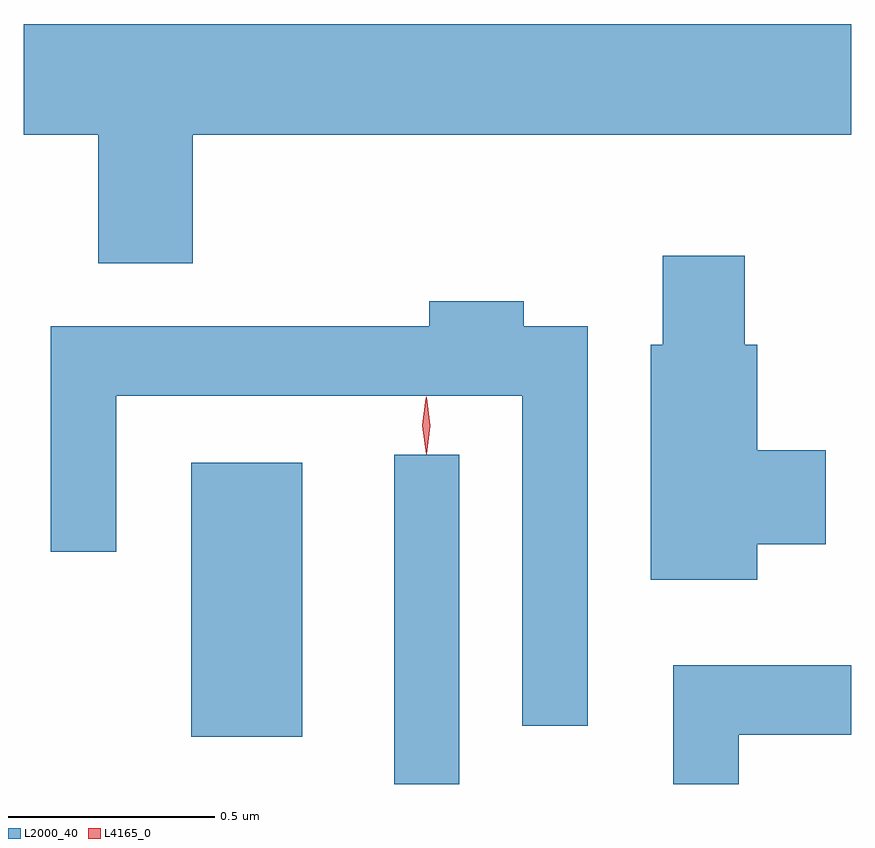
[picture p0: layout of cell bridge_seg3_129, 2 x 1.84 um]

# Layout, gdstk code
import gdstk
lib = gdstk.Library(unit=1e-6, precision=1e-09)
def R(c, l, rs):  # rectangles x0, y0, x1, y1
    for r in rs: c.add(gdstk.rectangle(r[:2], r[2:], *l))
def P(c, l, *ps):  # polygons
    for p in ps: c.add(gdstk.Polygon(p, *l))
L2000_40 = (2000, 40)
L4165_0 = (4165, 0)

bridge_seg3_129 = lib.new_cell('bridge_seg3_129')
R(bridge_seg3_129, L2000_40, [(889.896,1231.007,890.054,1231.803), (889.406,1231.121,889.674,1231.784)])
P(bridge_seg3_129, L2000_40, [(889.409,1232.576),(891.001,1232.576),(891.001,1232.844),(889.001,1232.844),(889.001,1232.576),(889.181,1232.576),(889.181,1232.266),(889.409,1232.266)],
  [(890.774,1231.586),(890.939,1231.586),(890.939,1231.814),(890.774,1231.814),(890.774,1232.069),(890.744,1232.069),(890.744,1232.284),(890.546,1232.284),(890.546,1232.069),(890.516,1232.069),(890.516,1231.501),(890.774,1231.501)],
  [(890.364,1232.114),(890.209,1232.114),(890.209,1232.174),(889.981,1232.174),(889.981,1232.114),(889.066,1232.114),(889.066,1231.568),(889.224,1231.568),(889.224,1231.946),(890.206,1231.946),(890.206,1231.148),(890.364,1231.148)],
  [(890.729,1231.126),(891.001,1231.126),(891.001,1231.294),(890.571,1231.294),(890.571,1231.007),(890.729,1231.007)])
P(bridge_seg3_129, L4165_0, [(889.974,1231.807),(889.974,1231.808),(889.964,1231.874),(889.973,1231.94),(889.974,1231.94),(889.974,1231.94),(889.984,1231.874),(889.974,1231.808)],
  [(889.974,1231.804),(889.974,1231.804),(889.964,1231.873),(889.974,1231.942),(889.974,1231.943),(889.975,1231.942),(889.984,1231.873),(889.975,1231.804)])

lib.write_gds('bridge_seg3_129.gds')
